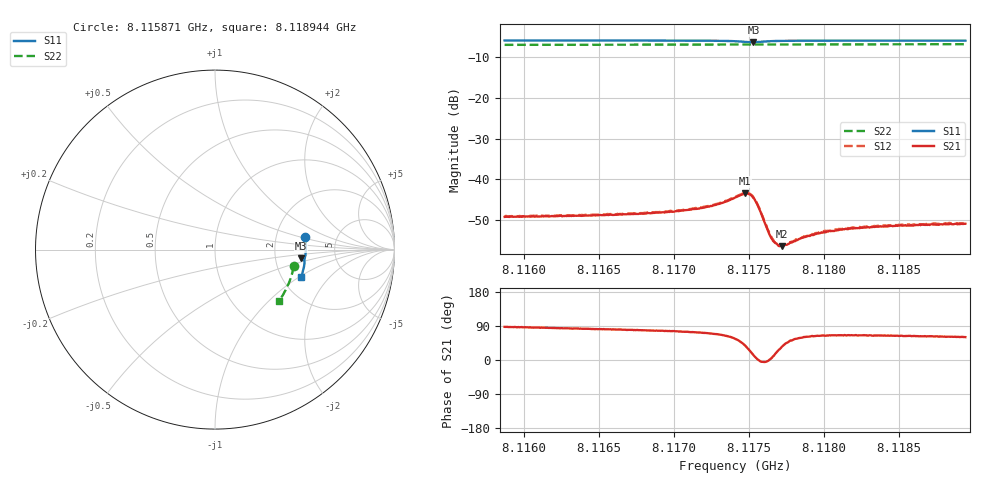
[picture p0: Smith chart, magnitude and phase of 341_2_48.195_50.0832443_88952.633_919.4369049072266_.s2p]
#  HZ  S  RI  R  50.00
! Rohde & Schwarz Vector Network Analyzer
! Rohde-Schwarz,ZNB20-2Port,1311601062101988,3.16
! Created: UTC 3/20/2024, 11:51:18 AM
! freq[Hz]  re:S11  im:S11  re:S21  im:S21  re:S12  im:S12  re:S22  im:S22
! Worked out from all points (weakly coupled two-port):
!   401 points, 8.115871 GHz to 8.118944 GHz, reference 50 ohm
!   highest |S21| = -43.43 dB at 8.117477 GHz (marker M1); lowest = -56.4 dB at 8.117723 GHz (marker M2)
!   lowest |S11| = -6.3 dB at 8.117531 GHz (marker M3), VSWR 2.86, Z = 140 - j17.9 ohm
!   |S11| at or under -10 dB: nowhere
!   |S22| runs from -7.0 to -6.8 dB; largest |S21 - S12| = 0.00017
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8.1158713e9  0.5029 0.0677  0.000154 0.00347  0.000237 0.00353  0.4386 -0.0924
8.1163859e9  0.506 0.0291  0.000471 0.00354  0.000518 0.00365  0.4312 -0.1275
8.1169006e9  0.5057 -0.0103  0.000875 0.00382  0.000917 0.00387  0.4211 -0.1616
8.1170542e9  0.5049 -0.0225  0.00109 0.00401  0.00113 0.00405  0.4174 -0.1718
8.1172002e9  0.5032 -0.035  0.00142 0.00428  0.0015 0.00437  0.4138 -0.1814
8.1173001e9  0.5007 -0.0442  0.00193 0.00462  0.002 0.00467  0.4109 -0.1879
8.1174076e9  0.494 -0.0547  0.00334 0.00499  0.00343 0.00503  0.4079 -0.1948
8.1174767e9  0.4839 -0.057  0.00534 0.00411  0.00548 0.0041  0.4054 -0.199
8.1175075e9  0.4797 -0.0532  0.00596 0.00265  0.00609 0.00268  0.4045 -0.2007
8.1175305e9  0.4794 -0.0488  0.00579 0.00134  0.00589 0.0013  0.4039 -0.202
8.1175612e9  0.4833 -0.0445  0.0047 6.4e-05  0.00482 4.87e-06  0.4034 -0.2036
8.1176304e9  0.4939 -0.0475  0.00228 -6.69e-05  0.00234 -5.22e-05  0.4018 -0.2079
8.1176534e9  0.4958 -0.05  0.00185 0.000185  0.0019 0.000194  0.4013 -0.2095
8.1176688e9  0.4967 -0.0517  0.00167 0.000361  0.0017 0.000389  0.4008 -0.2107
8.1176918e9  0.4978 -0.0543  0.00145 0.000633  0.00151 0.000639  0.4001 -0.2121
8.1177226e9  0.4986 -0.0578  0.00123 0.000892  0.00128 0.000909  0.3992 -0.214
8.1178532e9  0.4991 -0.0705  0.000992 0.00164  0.000987 0.00167  0.3954 -0.2224
8.1179223e9  0.4986 -0.0765  0.000928 0.00186  0.000997 0.00189  0.393 -0.2266
8.1179914e9  0.4978 -0.0822  0.000949 0.00201  0.00101 0.00207  0.3907 -0.2311
8.1181297e9  0.4961 -0.0934  0.00104 0.00222  0.00106 0.00225  0.386 -0.2397
8.118437e9  0.4911 -0.1167  0.00117 0.00241  0.00121 0.00245  0.3751 -0.2581
8.118944e9  0.4806 -0.1532  0.00141 0.00248  0.00146 0.00252  0.3547 -0.2874
